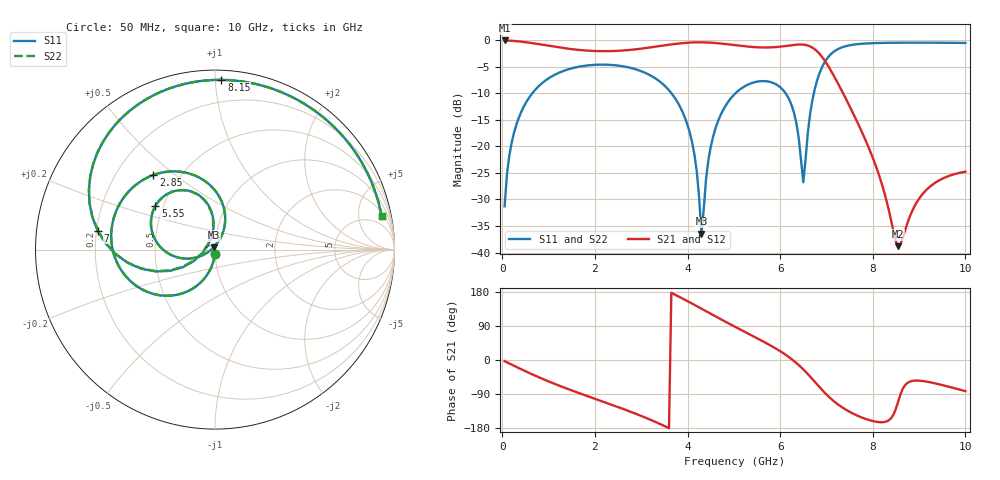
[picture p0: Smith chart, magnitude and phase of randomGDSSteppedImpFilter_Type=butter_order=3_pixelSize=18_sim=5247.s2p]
! freq	dB(S11)	phase(S11)	dB(S12)	phase(S12)
!  dB(S21)	phase(S21)	dB(S22)	phase(S22)
!S-par simulation data
#  GHz  S  DB  R 50
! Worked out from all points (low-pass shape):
!   200 points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, 50 MHz to 10 GHz, reference 50 ohm
!   highest |S21| = -0.01 dB at 50 MHz (marker M1); lowest = -38.8 dB at 8.55 GHz (marker M2)
!   |S21| within 3 dB of the highest: start of sweep to 6.895 GHz
!   lowest |S11| = -36.5 dB at 4.3 GHz (marker M3), VSWR 1.03, Z = 49.3 + j1.3 ohm
!   |S11| at or under -10 dB: start of sweep to 645.8 MHz; 3.656 GHz to 5.032 GHz (1.376 GHz wide, 31.7 % of centre); 6.119 GHz to 6.727 GHz (607.7 MHz wide, 9.46 % of centre)
!   |S22| runs from -36.4 to -0.4 dB; largest |S21 - S12| = 0
!   S11 on the Smith chart (normalised r, x): 50 MHz: 1.00, -0.05; 2.85 GHz: 0.36, +0.42; 5.55 GHz: 0.45, +0.27; 7 GHz: 0.20, +0.08; 8.15 GHz: 0.06, +1.04; 10 GHz: 2.60, +9.35
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0.05  -31.29 -93.2  -0.01 -3.1  -0.01 -3.1  -31.29 -93.2
0.2  -19.39 -102.6  -0.07 -12.1  -0.07 -12.1  -19.39 -102.6
0.5  -11.91 -120.2  -0.33 -29.7  -0.33 -29.7  -11.91 -120.2
1.75  -4.82 178.0  -1.87 -91.5  -1.87 -91.5  -4.82 178.1
2.85  -5.36 129.6  -1.71 -140.3  -1.71 -140.3  -5.36 129.7
3.4  -7.75 102.1  -1.06 -168.5  -1.06 -168.5  -7.75 102.2
4.05  -17.45 67.1  -0.40 152.1  -0.40 152.1  -17.45 67.2
4.2  -24.75 65.4  -0.36 142.2  -0.36 142.2  -24.74 65.5
4.3  -36.47 118.4  -0.36 135.5  -0.36 135.5  -36.41 118.5
4.55  -18.22 -158.0  -0.45 118.8  -0.45 118.8  -18.22 -158.0
5.05  -9.85 173.9  -0.92 86.1  -0.92 86.1  -9.85 174.0
5.55  -7.71 143.8  -1.31 54.3  -1.31 54.3  -7.71 143.9
6.2  -11.22 100.9  -0.96 6.7  -0.96 6.7  -11.22 101.4
6.5  -26.74 148.4  -0.79 -24.8  -0.79 -24.8  -26.27 148.7
6.7  -11.09 -154.8  -1.38 -51.0  -1.38 -51.0  -11.07 -155.4
7  -3.58 170.8  -4.31 -91.1  -4.31 -91.1  -3.58 170.6
7.55  -0.84 121.7  -13.30 -140.0  -13.30 -140.0  -0.84 121.6
8.15  -0.48 87.9  -25.80 -164.1  -25.80 -164.1  -0.48 87.9
8.35  -0.45 78.4  -32.15 -158.7  -32.15 -158.7  -0.45 78.4
8.55  -0.43 69.5  -38.80 -109.1  -38.80 -109.1  -0.43 69.5
9.1  -0.42 46.4  -28.72 -55.8  -28.72 -55.8  -0.42 46.5
10  -0.47 11.3  -24.76 -82.1  -24.76 -82.1  -0.47 11.4
